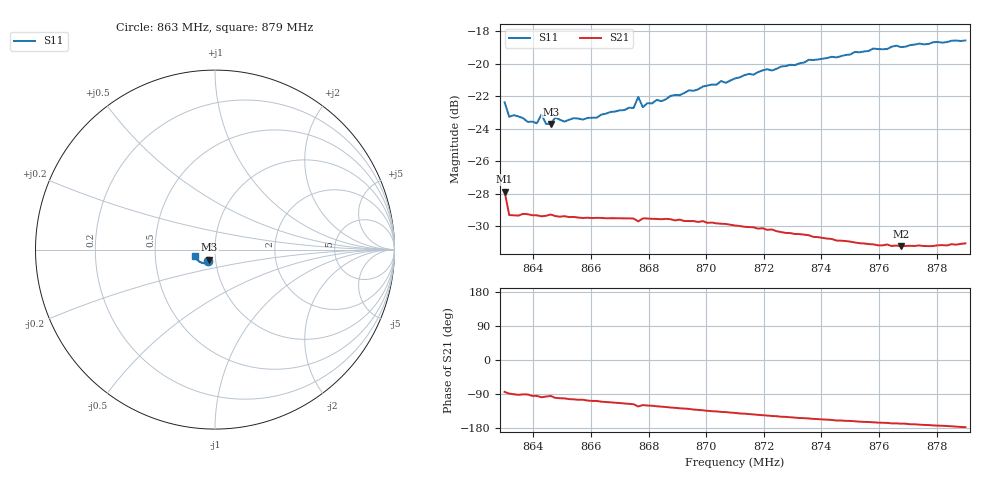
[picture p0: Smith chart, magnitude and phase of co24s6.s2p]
# HZ S RI R 50
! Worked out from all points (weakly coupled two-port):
!   101 points, 863 MHz to 879 MHz, reference 50 ohm
!   highest |S21| = -27.88 dB at 863 MHz (marker M1); lowest = -31.2 dB at 876.76 MHz (marker M2)
!   lowest |S11| = -23.7 dB at 864.6 MHz (marker M3), VSWR 1.14, Z = 46.6 - j5.3 ohm
!   |S11| at or under -10 dB: start of sweep to end of sweep
!   S12 and S22 are empty: the file has one direction only
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8.63e8  -0.0376 -0.0661  0.00412 -0.0402  0 0  0 0
8.6316e8  -0.0429 -0.0535  0.000696 -0.0342  0 0  0 0
8.6332e8  -0.0429 -0.0545  -0.000162 -0.0341  0 0  0 0
8.6412e8  -0.0364 -0.0545  -0.00285 -0.034  0 0  0 0
8.6428e8  -0.0403 -0.0569  -0.00489 -0.0335  0 0  0 0
8.6444e8  -0.036 -0.0544  -0.00388 -0.0338  0 0  0 0
8.646e8  -0.0323 -0.0567  -0.00291 -0.0342  0 0  0 0
8.6476e8  -0.0387 -0.0561  -0.00588 -0.0334  0 0  0 0
8.6508e8  -0.0335 -0.0572  -0.00665 -0.0333  0 0  0 0
8.654e8  -0.0361 -0.0576  -0.00806 -0.0328  0 0  0 0
8.6572e8  -0.0332 -0.0584  -0.00864 -0.0323  0 0  0 0
8.6748e8  -0.0339 -0.0647  -0.015 -0.0298  0 0  0 0
8.6764e8  -0.0423 -0.0666  -0.0177 -0.0275  0 0  0 0
8.678e8  -0.0348 -0.0646  -0.0161 -0.0292  0 0  0 0
8.6828e8  -0.0365 -0.0682  -0.0177 -0.0282  0 0  0 0
8.6844e8  -0.0365 -0.0673  -0.0181 -0.0278  0 0  0 0
8.6876e8  -0.0374 -0.0701  -0.0192 -0.0271  0 0  0 0
8.71e8  -0.0499 -0.0749  -0.0241 -0.0206  0 0  0 0
8.7372e8  -0.0693 -0.0755  -0.0266 -0.0122  0 0  0 0
8.7644e8  -0.0944 -0.0616  -0.0268 -0.00608  0 0  0 0
8.7676e8  -0.0959 -0.0587  -0.0268 -0.00571  0 0  0 0
8.79e8  -0.1116 -0.0378  -0.0279 -0.00134  0 0  0 0
